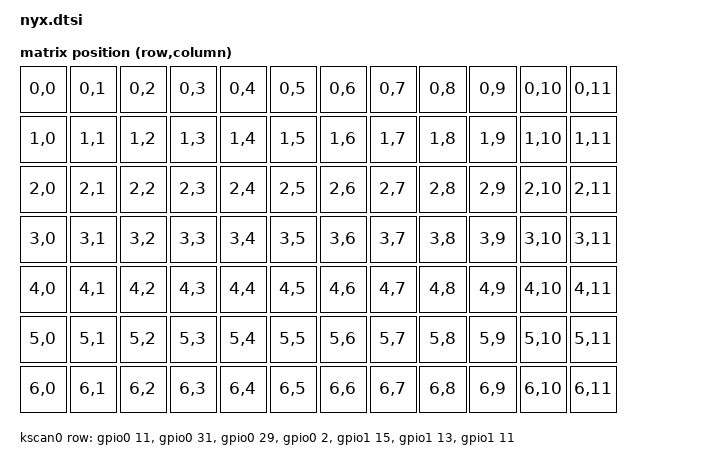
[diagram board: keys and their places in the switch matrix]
/*
 * Nyx Split Keyboard - Shared Devicetree Configuration
 * Controller: nice!nano v2 (nRF52840)
 * Matrix: 7 rows × 12 columns (6 columns per half)
 * Diode Direction: Row-to-Column (ROW2COL)
 */

#include <dt-bindings/zmk/matrix_transform.h>

/ {
    kscan0: kscan {
        compatible = "zmk,kscan-gpio-matrix";
        label = "KSCAN";
        diode-direction = "col2row";
        
        /* Row pins with pull-downs for col2row */
        row-gpios = <&gpio0 11 (GPIO_ACTIVE_HIGH | GPIO_PULL_DOWN)>,
                    <&gpio0 31 (GPIO_ACTIVE_HIGH | GPIO_PULL_DOWN)>,
                    <&gpio0 29 (GPIO_ACTIVE_HIGH | GPIO_PULL_DOWN)>,
                    <&gpio0  2 (GPIO_ACTIVE_HIGH | GPIO_PULL_DOWN)>,
                    <&gpio1 15 (GPIO_ACTIVE_HIGH | GPIO_PULL_DOWN)>,
                    <&gpio1 13 (GPIO_ACTIVE_HIGH | GPIO_PULL_DOWN)>,
                    <&gpio1 11 (GPIO_ACTIVE_HIGH | GPIO_PULL_DOWN)>;
        
        /* Column pins defined in left/right overlay files */
    };
    
    /* Physical Matrix Layout (7×12)
     * ╔═══════════════════════════════════════╤═══════════════════════════════════════╗
     * ║          LEFT HALF (7×6)              │          RIGHT HALF (7×6)             ║
     * ╟───────────────────────────────────────┼───────────────────────────────────────╢
     * ║   COL0 COL1 COL2 COL3 COL4  COL5      │      COL6 COL7 COL8 COL9 COL10 COL11  ║
     * ╠═══════════════════════════════════════╪═══════════════════════════════════════╣
     * ║ R0 [ 0] [ 1] [ 2] [ 3] [ 4] [ 5]      │      [ 6] [ 7] [ 8] [ 9] [10] [11] R0 ║
     * ║ R1 [12] [13] [14] [15] [16] [17]      │      [18] [19] [20] [21] [22] [23] R1 ║
     * ║ R2 [24] [25] [26] [27] [28] [29]      │      [30] [31] [32] [33] [34] [35] R2 ║
     * ║ R3 [36] [37] [38] [39] [40] [41]      │      [42] [43] [44] [45] [46] [47] R3 ║
     * ║ R4 [48] [49] [50] [51] [52] [53]      │      [54] [55] [56] [57] [58] [59] R4 ║
     * ║ R5 [60] [61] [62] [63] [64] [65]      │      [66] [67] [68] [69] [70] [71] R5 ║
     * ║ R6 [72] [73] [74] [75] [76] [77]      │      [78] [79] [80] [81] [82] [83] R6 ║
     * ╚═══════════════════════════════════════╧═══════════════════════════════════════╝
     */
    
    default_transform: keymap_transform {
        compatible = "zmk,matrix-transform";
        columns = <12>;
        rows = <7>;
        
        map = <
            RC(0,0) RC(0,1) RC(0,2) RC(0,3) RC(0,4) RC(0,5)    RC(0,6) RC(0,7) RC(0,8) RC(0,9) RC(0,10) RC(0,11)
            RC(1,0) RC(1,1) RC(1,2) RC(1,3) RC(1,4) RC(1,5)    RC(1,6) RC(1,7) RC(1,8) RC(1,9) RC(1,10) RC(1,11)
            RC(2,0) RC(2,1) RC(2,2) RC(2,3) RC(2,4) RC(2,5)    RC(2,6) RC(2,7) RC(2,8) RC(2,9) RC(2,10) RC(2,11)
            RC(3,0) RC(3,1) RC(3,2) RC(3,3) RC(3,4) RC(3,5)    RC(3,6) RC(3,7) RC(3,8) RC(3,9) RC(3,10) RC(3,11)
            RC(4,0) RC(4,1) RC(4,2) RC(4,3) RC(4,4) RC(4,5)    RC(4,6) RC(4,7) RC(4,8) RC(4,9) RC(4,10) RC(4,11)
            RC(5,0) RC(5,1) RC(5,2) RC(5,3) RC(5,4) RC(5,5)    RC(5,6) RC(5,7) RC(5,8) RC(5,9) RC(5,10) RC(5,11)
            RC(6,0) RC(6,1) RC(6,2) RC(6,3) RC(6,4) RC(6,5)    RC(6,6) RC(6,7) RC(6,8) RC(6,9) RC(6,10) RC(6,11)
        >;
    };
    
    chosen {
        zmk,kscan = &kscan0;
        zmk,matrix-transform = &default_transform;
    };
};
